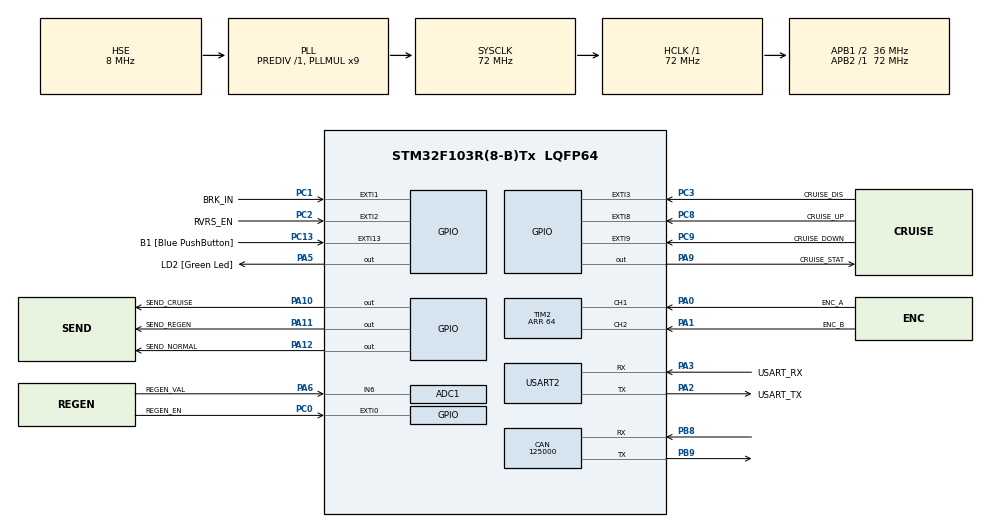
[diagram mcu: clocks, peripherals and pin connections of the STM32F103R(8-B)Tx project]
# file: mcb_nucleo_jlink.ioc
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ADC1.Channel-0\#ChannelRegularConversion=ADC_CHANNEL_6
ADC1.ContinuousConvMode=ENABLE
ADC1.NbrOfConversionFlag=1
ADC1.Rank-0\#ChannelRegularConversion=1
ADC1.SamplingTime-0\#ChannelRegularConversion=ADC_SAMPLETIME_239CYCLES_5
ADC1.master=1
CAN.BS1=CAN_BS1_13TQ
CAN.BS2=CAN_BS2_4TQ
CAN.CalculateBaudRate=125000
CAN.CalculateTimeBit=7999.99
CAN.CalculateTimeQuantum=444.44444444444446
FREERTOS.HEAP_NUMBER=4
FREERTOS.Tasks01=defaultTask,24,128,StartDefaultTask,Default,NULL,Dynamic,NULL,NULL
FREERTOS.configMAX_TASK_NAME_LEN=32
FREERTOS.configTOTAL_HEAP_SIZE=9216
FREERTOS.configUSE_IDLE_HOOK=0
FREERTOS.configUSE_NEWLIB_REENTRANT=1
FREERTOS.configUSE_TICK_HOOK=0
Mcu.Family=STM32F1
Mcu.Name=STM32F103R(8-B)Tx
Mcu.Package=LQFP64
NVIC.ADC1_2_IRQn=true\:5\:0\:false\:false\:true\:true\:true\:true
NVIC.EXTI0_IRQn=true\:5\:0\:false\:false\:true\:true\:true\:true
NVIC.EXTI15_10_IRQn=true\:5\:0\:false\:false\:true\:true\:true\:true
NVIC.EXTI1_IRQn=true\:5\:0\:false\:false\:true\:true\:true\:true
NVIC.EXTI2_IRQn=true\:5\:0\:false\:false\:true\:true\:true\:true
NVIC.EXTI3_IRQn=true\:5\:0\:false\:false\:true\:true\:true\:true
NVIC.EXTI9_5_IRQn=true\:5\:0\:false\:false\:true\:true\:true\:true
NVIC.PriorityGroup=NVIC_PRIORITYGROUP_4
NVIC.TIM1_UP_IRQn=true\:15\:0\:false\:false\:true\:false\:false\:true
NVIC.TimeBase=TIM1_UP_IRQn
NVIC.TimeBaseIP=TIM1
NVIC.USB_LP_CAN1_RX0_IRQn=true\:5\:0\:false\:false\:true\:true\:true\:true
PA0-WKUP.GPIO_Label=ENC_A
PA0-WKUP.Signal=S_TIM2_CH1_ETR
PA1.GPIO_Label=ENC_B
PA1.Signal=S_TIM2_CH2
PA10.GPIO_Label=SEND_CRUISE
PA10.Signal=GPIO_Output
PA11.GPIO_Label=SEND_REGEN
PA11.Signal=GPIO_Output
PA12.GPIO_Label=SEND_NORMAL
PA12.Signal=GPIO_Output
PA13.GPIO_Label=TMS
PA13.Mode=JTAG_5_pins
PA13.Signal=SYS_JTMS-SWDIO
PA14.GPIO_Label=TCK
PA14.Mode=JTAG_5_pins
PA14.Signal=SYS_JTCK-SWCLK
PA15.Mode=JTAG_5_pins
PA15.Signal=SYS_JTDI
PA2.GPIO_Label=USART_TX
PA2.GPIO_Mode=GPIO_MODE_AF_PP
PA2.GPIO_PuPd=GPIO_NOPULL
PA2.GPIO_Speed=GPIO_SPEED_FREQ_LOW
PA2.Mode=Asynchronous
PA2.Signal=USART2_TX
PA3.GPIO_Label=USART_RX
PA3.GPIO_Mode=GPIO_MODE_AF_PP
PA3.GPIO_PuPd=GPIO_NOPULL
PA3.GPIO_Speed=GPIO_SPEED_FREQ_LOW
PA3.Mode=Asynchronous
PA3.Signal=USART2_RX
PA5.GPIO_Label=LD2 [Green Led]
PA5.GPIO_ModeDefaultOutputPP=GPIO_MODE_OUTPUT_PP
PA5.GPIO_PuPd=GPIO_NOPULL
PA5.GPIO_Speed=GPIO_SPEED_FREQ_LOW
PA5.Signal=GPIO_Output
PA6.GPIO_Label=REGEN_VAL
PA6.Signal=ADCx_IN6
PA9.GPIO_Label=CRUISE_STAT
PA9.Signal=GPIO_Output
PB3.GPIO_Label=SWO
PB3.Mode=JTAG_5_pins
PB3.Signal=SYS_JTDO-TRACESWO
PB4.Mode=JTAG_5_pins
PB4.Signal=SYS_NJTRST
PB8.Mode=CAN_Activate
PB8.Signal=CAN_RX
PB9.Mode=CAN_Activate
PB9.Signal=CAN_TX
PC0.GPIO_Label=REGEN_EN
PC0.GPIO_ModeDefaultEXTI=GPIO_MODE_IT_RISING_FALLING
PC0.GPIO_PuPd=GPIO_PULLDOWN
PC0.Signal=GPXTI0
PC1.GPIO_Label=BRK_IN
PC1.GPIO_PuPd=GPIO_PULLDOWN
PC1.Signal=GPXTI1
PC13-TAMPER-RTC.GPIO_Label=B1 [Blue PushButton]
PC13-TAMPER-RTC.GPIO_PuPd=GPIO_NOPULL
PC13-TAMPER-RTC.Signal=GPXTI13
PC14-OSC32_IN.Mode=LSE-External-Oscillator
PC14-OSC32_IN.Signal=RCC_OSC32_IN
PC15-OSC32_OUT.Mode=LSE-External-Oscillator
PC15-OSC32_OUT.Signal=RCC_OSC32_OUT
PC2.GPIO_Label=RVRS_EN
PC2.GPIO_ModeDefaultEXTI=GPIO_MODE_IT_RISING_FALLING
PC2.GPIO_PuPd=GPIO_PULLDOWN
PC2.Signal=GPXTI2
PC3.GPIO_Label=CRUISE_DIS
PC3.GPIO_PuPd=GPIO_PULLDOWN
PC3.Signal=GPXTI3
PC8.GPIO_Label=CRUISE_UP
PC8.GPIO_PuPd=GPIO_PULLDOWN
PC8.Signal=GPXTI8
PC9.GPIO_Label=CRUISE_DOWN
PC9.GPIO_PuPd=GPIO_PULLDOWN
PC9.Signal=GPXTI9
PD0-OSC_IN.Mode=HSE-External-Clock-Source
PD0-OSC_IN.Signal=RCC_OSC_IN
PD1-OSC_OUT.Mode=HSE-External-Clock-Source
PD1-OSC_OUT.Signal=RCC_OSC_OUT
ProjectManager.HeapSize=0x200
ProjectManager.StackSize=0x400
ProjectManager.TargetToolchain=STM32CubeIDE
RCC.ADCPresc=RCC_ADCPCLK2_DIV6
RCC.AHBFreq_Value=72000000
RCC.APB1CLKDivider=RCC_HCLK_DIV2
RCC.APB1Freq_Value=36000000
RCC.APB1TimFreq_Value=72000000
RCC.APB2Freq_Value=72000000
RCC.APB2TimFreq_Value=72000000
RCC.HCLKFreq_Value=72000000
RCC.PLLMUL=RCC_PLL_MUL9
RCC.PLLSourceVirtual=RCC_PLLSOURCE_HSE
RCC.RTCClockSelection=RCC_RTCCLKSOURCE_LSE
RCC.SYSCLKFreq_VALUE=72000000
RCC.SYSCLKSource=RCC_SYSCLKSOURCE_PLLCLK
RCC.USBFreq_Value=72000000
SH.ADCx_IN6.0=ADC1_IN6,IN6
SH.S_TIM2_CH1_ETR.0=TIM2_CH1,Encoder_Interface
SH.S_TIM2_CH2.0=TIM2_CH2,Encoder_Interface
TIM2.EncoderMode=TIM_ENCODERMODE_TI12
TIM2.Period=64
USART2.VirtualMode=VM_ASYNC
VP_FREERTOS_VS_CMSIS_V2.Mode=CMSIS_V2
VP_SYS_VS_tim1.Mode=TIM1
board=NUCLEO-F103RB

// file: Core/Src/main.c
/* USER CODE BEGIN Header */
/**
 ******************************************************************************
 * @file           : main.c
 * @brief          : Main program body
 ******************************************************************************
 * @attention
 *
 * <h2><center>&copy; Copyright (c) 2021 STMicroelectronics.
 * All rights reserved.</center></h2>
 *
 * This software component is licensed by ST under Ultimate Liberty license
 * SLA0044, the "License"; You may not use this file except in compliance with
 * the License. You may obtain a copy of the License at:
 *                             www.st.com/SLA0044
 *
 ******************************************************************************
 */
/* USER CODE END Header */
#include "main.h"
#include "cmsis_os.h"
#include "adc.h"
#include "can.h"
#include "tim.h"
#include "usart.h"
#include "gpio.h"

/* USER CODE BEGIN Includes */

#include <SEGGER/SEGGER_SYSVIEW.h>
#include <SEGGER/SEGGER_RTT.h>

/* USER CODE END Includes */

/* USER CODE BEGIN PD */

union FloatBytes current, velocity, motor_temperature;
struct input_flags event_flags;

uint32_t regen_value;
int8_t cruise_value;

uint8_t battery_soc;

uint32_t buffer;

/* USER CODE END PD */

void SystemClock_Config(void);
void MX_FREERTOS_Init(void);

int main(void)
{
  /* USER CODE BEGIN 1 */
    HAL_NVIC_SetPriorityGrouping(NVIC_PRIORITYGROUP_4);

  /* USER CODE END 1 */

  /* MCU Configuration--------------------------------------------------------*/

  /* Reset of all peripherals, Initializes the Flash interface and the Systick. */
  HAL_Init();

  /* Configure the system clock */
  SystemClock_Config();

  /* Initialize all configured peripherals */
  MX_GPIO_Init();
  MX_USART2_UART_Init();
  MX_ADC1_Init();
  MX_CAN_Init();
  MX_TIM2_Init();
  /* USER CODE BEGIN 2 */

    HAL_TIM_Encoder_Start(&htim2, TIM_CHANNEL_ALL);

    // <----- CAN setup ----->

    CAN_Filter_Init();
    HAL_CAN_ConfigFilter(&hcan, &mcb_filter);
    HAL_CAN_Start(&hcan);

    HAL_StatusTypeDef can_notification_status = HAL_CAN_ActivateNotification(&hcan, CAN_IT_RX_FIFO0_MSG_PENDING);
    assert_param(can_notification_status == HAL_OK);

    // <----- ADC setup ----->

    // ISR is the HAL_ADC_ConvCpltCallback function
    // HAL_ADC_Start_DMA(&hadc1, &buffer, sizeof(buffer));
    HAL_ADC_Start_IT(&hadc1);

    // TODO: comment out after debugging
    SEGGER_SYSVIEW_Conf();

  /* USER CODE END 2 */

  /* Init scheduler */
  osKernelInitialize();  /* Call init function for freertos objects (in freertos.c) */
  MX_FREERTOS_Init();
  /* Start scheduler */
  osKernelStart();

  /* We should never get here as control is now taken by the scheduler */
  /* Infinite loop */
    while (1) {

    }
}

void SystemClock_Config(void)
{
  RCC_OscInitTypeDef RCC_OscInitStruct = {0};
  RCC_ClkInitTypeDef RCC_ClkInitStruct = {0};
  RCC_PeriphCLKInitTypeDef PeriphClkInit = {0};

  /** Initializes the RCC Oscillators according to the specified parameters
  * in the RCC_OscInitTypeDef structure.
  */
  RCC_OscInitStruct.OscillatorType = RCC_OSCILLATORTYPE_HSE;
  RCC_OscInitStruct.HSEState = RCC_HSE_BYPASS;
  RCC_OscInitStruct.HSEPredivValue = RCC_HSE_PREDIV_DIV1;
  RCC_OscInitStruct.HSIState = RCC_HSI_ON;
  RCC_OscInitStruct.PLL.PLLState = RCC_PLL_ON;
  RCC_OscInitStruct.PLL.PLLSource = RCC_PLLSOURCE_HSE;
  RCC_OscInitStruct.PLL.PLLMUL = RCC_PLL_MUL9;
  if (HAL_RCC_OscConfig(&RCC_OscInitStruct) != HAL_OK)
  {
    Error_Handler();
  }
  /** Initializes the CPU, AHB and APB buses clocks
  */
  RCC_ClkInitStruct.ClockType = RCC_CLOCKTYPE_HCLK|RCC_CLOCKTYPE_SYSCLK
                              |RCC_CLOCKTYPE_PCLK1|RCC_CLOCKTYPE_PCLK2;
  RCC_ClkInitStruct.SYSCLKSource = RCC_SYSCLKSOURCE_PLLCLK;
  RCC_ClkInitStruct.AHBCLKDivider = RCC_SYSCLK_DIV1;
  RCC_ClkInitStruct.APB1CLKDivider = RCC_HCLK_DIV2;
  RCC_ClkInitStruct.APB2CLKDivider = RCC_HCLK_DIV1;

  if (HAL_RCC_ClockConfig(&RCC_ClkInitStruct, FLASH_LATENCY_2) != HAL_OK)
  {
    Error_Handler();
  }
  PeriphClkInit.PeriphClockSelection = RCC_PERIPHCLK_ADC;
  PeriphClkInit.AdcClockSelection = RCC_ADCPCLK2_DIV6;
  if (HAL_RCCEx_PeriphCLKConfig(&PeriphClkInit) != HAL_OK)
  {
    Error_Handler();
  }
}

void HAL_TIM_PeriodElapsedCallback(TIM_HandleTypeDef *htim)
{
  if (htim->Instance == TIM1) {
    HAL_IncTick();
  }
}

void Error_Handler(void)
{
    __disable_irq();
    while (1) {
    }
}

#ifdef  USE_FULL_ASSERT
/**
  * @brief  Reports the name of the source file and the source line number
  *         where the assert_param error has occurred.
  * @param  file: pointer to the source file name
  * @param  line: assert_param error line source number
  * @retval None
  */
void assert_failed(uint8_t *file, uint32_t line)
{
  /* USER CODE BEGIN 6 */
    /* User can add his own implementation to report the file name and line number,
     ex: printf("Wrong parameters value: file %s on line %d\r\n", file, line) */
    HAL_GPIO_WritePin(LD2_GPIO_Port, LD2_Pin, GPIO_PIN_SET);
  /* USER CODE END 6 */
}
#endif /* USE_FULL_ASSERT */

/************************ (C) COPYRIGHT STMicroelectronics *****END OF FILE****/

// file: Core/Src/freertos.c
/* USER CODE BEGIN Header */
/**
 ******************************************************************************
 * File Name          : freertos.c
 * Description        : Code for freertos applications
 ******************************************************************************
 * @attention
 *
 * <h2><center>&copy; Copyright (c) 2021 STMicroelectronics.
 * All rights reserved.</center></h2>
 *
 * This software component is licensed by ST under Ultimate Liberty license
 * SLA0044, the "License"; You may not use this file except in compliance with
 * the License. You may obtain a copy of the License at:
 *                             www.st.com/SLA0044
 *
 ******************************************************************************
 */
/* USER CODE END Header */

#include "FreeRTOS.h"
#include "task.h"
#include "main.h"
#include "cmsis_os.h"

/* USER CODE BEGIN Includes */

#include "attributes.h"
#include "can.h"
#include "tim.h"

#include "SEGGER_RTT.h"

/* USER CODE END Includes */

/* USER CODE BEGIN PD */

#define ENCODER_QUEUE_MSG_CNT               5   /* maximum number of messages allowed in encoder queue */
#define ENCODER_QUEUE_MSG_SIZE              2   /* size of each message in encoder queue 2 bytes (uint16_t) */

#define DEFAULT_CRUISE_SPEED                10  /* TODO: calibrate this */

#define BATTERY_REGEN_THRESHOLD             90  /* battery percentage beyond which regen is disabled */

#define CAN_FIFO0                           0
#define CAN_FIFO1                           1

#define TRUE                                1
#define FALSE                               0

#define INIT_EVENT_FLAGS_SEMAPHORE_VAL      0
#define MAX_EVENT_FLAGS_SEMAPHORE_VAL       1

#define PEDAL_MAX                           0x64 /* TODO: calibrate this */
#define PEDAL_MIN                           0x00 /* TODO: calibrate this */

#define MOTOR_OVERTEMP_THRESHOLD            150				/**< Maximum allowed motor temperature in celsius. */
#define MOTOR_OVERTEMP_CLEAR_THRESHOLD      100				/**< Temperature at which MCB will leave the MOTOR_OVERHEAT state */

#define STATE_LED_DELAY                     200
#define KERNEL_LED_DELAY                    150
#define MOTOR_OVERHEAT_DELAY                1000			/**< Delay between each time the motor temperature is read fro CAN (in ms).*/
#define EVENT_FLAG_UPDATE_DELAY             25
#define ENCODER_READ_DELAY                  50
#define READ_BATTERY_SOC_DELAY              5000
#define CAN_READ_MESSAGE_DELAY              1000

#define DEBUG 								1

/* USER CODE END PD */

/* USER CODE BEGIN Variables */

osThreadId_t kernelLEDTaskHandle;

osThreadId_t readEncoderTaskHandle;
osThreadId_t computeNextStateTaskHandle;

osThreadId_t canReadMessagesTaskHandle;

osThreadId_t sendMotorCommandTaskHandle;
osThreadId_t sendRegenCommandTaskHandle;
osThreadId_t sendCruiseCommandTaskHandle;
osThreadId_t sendNextScreenMessageTaskHandle;
osThreadId_t sendIdleCommandTaskHandle;

osThreadId_t sendMotorOverheatTaskHandle;

osThreadId_t receiveBatteryMessageTaskHandle;

osThreadId_t initialSetupTaskHandle;

osThreadId_t monitorStateTaskHandle;

osMessageQueueId_t encoderQueueHandle;

osEventFlagsId_t commandEventFlagsHandle;
osEventFlagsId_t canIdEventFlagsHandle;

osSemaphoreId_t eventFlagsSemaphoreHandle;
osSemaphoreId_t nextScreenSemaphoreHandle;

//struct CAN_Tx_Message {
//	CAN_TxHeaderTypeDef header;
//	uint8_t data[8];
//};

// indicates the current state of the main control node
enum states {
    STATE_ERROR = (uint32_t) 0x0001,
    IDLE = (uint32_t) 0x0002,
    NORMAL_READY = (uint32_t) 0x0004,
    REGEN_READY = (uint32_t) 0x0008,
    CRUISE_READY = (uint32_t) 0x0010,
    MOTOR_OVERHEAT = (uint32_t) 0x0020
} mcb_state;

// indicates the CAN ID that is in the mailbox and ready to be used by a thread
enum can_ids {
    INVALID = (uint32_t) 0x0001,
    MOTOR_ID = (uint32_t) 0x0002,
    BATTERY_ID = (uint32_t) 0x0004
} can_id;

// store the CAN message data that is read in the canReadMessages task as a global variable
uint8_t current_can_data[8];

volatile uint16_t encoder_reading = 0x0000;

/* USER CODE END Variables */
/* Definitions for defaultTask */
osThreadId_t defaultTaskHandle;
const osThreadAttr_t defaultTask_attributes = {
  .name = "defaultTask",
  .stack_size = 128 * 4,
  .priority = (osPriority_t) osPriorityNormal,
};

/* USER CODE BEGIN FunctionPrototypes */

void kernelLEDTask(void *argument);

void readEncoderTask(void *argument);

void computeNextStateTask(void *argument);

void canReadMessagesTask(void *argument);

void sendMotorCommandTask(void *argument);
void sendRegenCommandTask(void *argument);
void sendCruiseCommandTask(void *argument);
void sendIdleCommandTask(void *argument);
void sendNextScreenMessageTask(void *argument);

void sendMotorOverheatTask(void *argument);

void initialSetupTask(void *argument);

void monitorStateTask(void *argument);

void receiveBatteryMessageTask(void *argument);

/* USER CODE END FunctionPrototypes */

void StartDefaultTask(void *argument);

void MX_FREERTOS_Init(void); /* (MISRA C 2004 rule 8.1) */

void MX_FREERTOS_Init(void) {
  /* USER CODE BEGIN Init */

    encoderQueueHandle = osMessageQueueNew(ENCODER_QUEUE_MSG_CNT,
    ENCODER_QUEUE_MSG_SIZE, &encoderQueue_attributes);

    // <----- Thread object handles ----->

    kernelLEDTaskHandle = osThreadNew(kernelLEDTask, NULL, &kernelLEDTask_attributes);

    readEncoderTaskHandle = osThreadNew(readEncoderTask, NULL, &readEncoderTask_attributes);
    computeNextStateTaskHandle = osThreadNew(computeNextStateTask, NULL, &computeNextStateTask_attributes);

    canReadMessagesTaskHandle = osThreadNew(canReadMessagesTask, NULL, &canReadMessagesTask_attributes);

    sendMotorCommandTaskHandle = osThreadNew(sendMotorCommandTask, NULL, &sendMotorCommandTask_attributes);
    sendRegenCommandTaskHandle = osThreadNew(sendRegenCommandTask, NULL, &sendRegenCommandTask_attributes);
    sendCruiseCommandTaskHandle = osThreadNew(sendCruiseCommandTask, NULL, &sendCruiseCommandTask_attributes);
    sendIdleCommandTaskHandle = osThreadNew(sendIdleCommandTask, NULL, &sendIdleCommandTask_attributes);

    sendMotorOverheatTaskHandle = osThreadNew(sendMotorOverheatTask, NULL, &sendMotorOverheatTask_attributes);

    initialSetupTaskHandle = osThreadNew(initialSetupTask, NULL, &initialSetupTask_attributes);

    // sendNextScreenMessageTaskHandle = osThreadNew(sendNextScreenMessageTask, NULL, &sendNextScreenTask_attributes);

    receiveBatteryMessageTaskHandle = osThreadNew(receiveBatteryMessageTask,
    NULL, &receiveBatteryMessageTask_attributes);

    monitorStateTaskHandle = osThreadNew(monitorStateTask, NULL, &monitorStateTask_attributes);

    // <----- Event flag object handles ----->

    commandEventFlagsHandle = osEventFlagsNew(NULL);
    canIdEventFlagsHandle = osEventFlagsNew(NULL);

    // <----- Semaphore object handles ----->

    eventFlagsSemaphoreHandle = osSemaphoreNew(MAX_EVENT_FLAGS_SEMAPHORE_VAL,
    INIT_EVENT_FLAGS_SEMAPHORE_VAL, NULL);
    // nextScreenSemaphoreHandle = osSemaphoreNew(1, 0, NULL);

    assert_param(eventFlagsSemaphoreHandle != NULL);

    // set initial MCB state
    mcb_state = IDLE;

  /* USER CODE END Init */

  /* Create the thread(s) */
  /* creation of defaultTask */
  defaultTaskHandle = osThreadNew(StartDefaultTask, NULL, &defaultTask_attributes);

}

void StartDefaultTask(void *argument)
{
  for(;;)
  {
    osDelay(1);
  }
}

/* USER CODE BEGIN Application */

__NO_RETURN void kernelLEDTask(void *argument) {
    osKernelState_t kernel_state;

    while (1) {
        kernel_state = osKernelGetState();

        if (kernel_state == osKernelRunning) {
            HAL_GPIO_TogglePin(LD2_GPIO_Port, LD2_Pin);
        }

        osDelay(KERNEL_LED_DELAY);
    }
}

void initialSetupTask(void *argument) {
    uint8_t data_send[CAN_DATA_LENGTH];

    osKernelState_t kernel_state = osKernelGetState();

    if (kernel_state == osKernelRunning) {
        for (uint8_t i = 0; i < CAN_DATA_LENGTH; i++) {
            data_send[i] = 0xff;
        }
        HAL_CAN_AddTxMessage(&hcan, &kernel_state_header, data_send, &can_mailbox);
    } else {
        for (uint8_t i = 0; i < CAN_DATA_LENGTH; i++) {
            data_send[i] = 0x00;
        }

        HAL_CAN_AddTxMessage(&hcan, &kernel_state_header, data_send, &can_mailbox);
    }
    osThreadExit();
}

/**
 * @brief  reads the encoder and places the value in the encoder queue
 * @retval None
 */
__NO_RETURN void readEncoderTask(void *argument) {
    static uint16_t old_encoder_reading = 0x0000;

    while (1) {
        encoder_reading = __HAL_TIM_GET_COUNTER(&htim2);

        // update the event flags struct
        event_flags.encoder_value_is_zero = (encoder_reading == 0);

        osMessageQueuePut(encoderQueueHandle, &encoder_reading, 0U, 0U);

        if (encoder_reading > old_encoder_reading) {
            event_flags.encoder_value_increasing = TRUE;
            event_flags.cruise_status = DISABLE;
        } else {
            event_flags.encoder_value_increasing = FALSE;
        }

        old_encoder_reading = encoder_reading;

        osDelay(ENCODER_READ_DELAY);
    }
}

/**
 * @brief  sends motor command (torque-control) CAN message once encoder value is read and a NORMAL_STATE flag is signalled
 * @retval None
 */
__NO_RETURN void sendMotorCommandTask(void *argument) {
    uint8_t data_send[CAN_DATA_LENGTH];
    uint16_t encoder_value;

    osStatus_t queue_status;

    while (1) {
        // blocks thread waiting for encoder value to be added to queue
        queue_status = osMessageQueueGet(encoderQueueHandle, &encoder_value,
        NULL, 0U);

        if (queue_status == osOK) {
            // current is linearly scaled to pedal position
            current.float_value = (float) encoder_value / (PEDAL_MAX - PEDAL_MIN);
        } else {
            // TODO: could maybe output to UART for debugging or even send a CAN message
            osThreadYield();
        }

        osEventFlagsWait(commandEventFlagsHandle, NORMAL_READY, osFlagsWaitAll,
        osWaitForever);

        // velocity is set to unattainable value for motor torque-control mode
        if (event_flags.reverse_enable) {
            velocity.float_value = -100.0;
        } else {
            velocity.float_value = 100.0;
        }

        // writing data into data_send array which will be sent as a CAN message
        for (int i = 0; i < (uint8_t) CAN_DATA_LENGTH / 2; i++) {
            data_send[i] = velocity.bytes[i];
            data_send[4 + i] = current.bytes[i];
        }

        HAL_CAN_AddTxMessage(&hcan, &drive_command_header, data_send, &can_mailbox);
    }
}

/**
 * @brief  sends regen command (velocity control) CAN message
 * @retval None
 */
__NO_RETURN void sendRegenCommandTask(void *argument) {
    uint8_t data_send[CAN_DATA_LENGTH];

    while (1) {
        // waits for event flag that signals the decision to send a regen command
        osEventFlagsWait(commandEventFlagsHandle, REGEN_READY, osFlagsWaitAll, osWaitForever);

        // velocity is set to zero for regen CAN command
        velocity.float_value = 0.0;

        // current is linearly scaled with the read regen value
        current.float_value = (float) regen_value / (ADC_MAX - ADC_MIN);

        // writing data into data_send array which will be sent as a CAN message
        for (int i = 0; i < (uint8_t) CAN_DATA_LENGTH / 2; i++) {
            data_send[i] = velocity.bytes[i];
            data_send[4 + i] = current.bytes[i];
        }

        HAL_CAN_AddTxMessage(&hcan, &drive_command_header, data_send, &can_mailbox);
    }
}

/**
 * @brief  sends cruise-control command (velocity control) CAN message
 * @retval None
 */
__NO_RETURN void sendCruiseCommandTask(void *argument) {
    uint8_t data_send[CAN_DATA_LENGTH];

    while (1) {
        // waits for event flag that signals the decision to send a cruise control command
        osEventFlagsWait(commandEventFlagsHandle, CRUISE_READY, osFlagsWaitAll,
        osWaitForever);

        // current set to maximum for a cruise control message
        current.float_value = (float) 1.0;

        // set velocity to cruise value
        velocity.float_value = (float) cruise_value;

        // writing data into data_send array which will be sent as a CAN message
        for (int i = 0; i < (uint8_t) CAN_DATA_LENGTH / 2; i++) {
            data_send[i] = velocity.bytes[i];
            data_send[4 + i] = current.bytes[i];
        }

        HAL_CAN_AddTxMessage(&hcan, &drive_command_header, data_send, &can_mailbox);
    }
}

/**
 * @brief  sends an "idle" CAN message when the car is not moving
 * @retval None
 */
__NO_RETURN void sendIdleCommandTask(void *argument) {
    uint8_t data_send[CAN_DATA_LENGTH];

    while (1) {
        // waits for event flag that signals the decision to send an idle command
        osEventFlagsWait(commandEventFlagsHandle, IDLE, osFlagsWaitAll, osWaitForever);

        // zeroed since car would not be moving in idle state
        current.float_value = (float) 0.0;
        velocity.float_value = (float) 0.0;

        // writing data into data_send array which will be sent as a CAN message
        for (int i = 0; i < (uint8_t) CAN_DATA_LENGTH / 2; i++) {
            data_send[i] = velocity.bytes[i];
            data_send[4 + i] = current.bytes[i];
        }

        HAL_CAN_AddTxMessage(&hcan, &drive_command_header, data_send, &can_mailbox);
    }
}

/**
 * @brief  sends next_screen command (to switch telemetry output) CAN message
 * @param  argument: Not used
 * @retval None
 */
__NO_RETURN void sendNextScreenMessageTask(void *argument) {
    // maybe make this a global variable
    uint8_t data_send[CAN_CONTROL_DATA_LENGTH];

    while (1) {
        // wait for next-screen semaphore
        osSemaphoreAcquire(nextScreenSemaphoreHandle, osWaitForever);

        data_send[1] = 0x01;
        HAL_CAN_AddTxMessage(&hcan, &screen_cruise_control_header, data_send, &can_mailbox);
    }
}

/**
 * @brief  Decides what the next thread will be given certain event flags
 * @retval An enum of type `states` describing the next state for the MCB
 */
enum states calculateNextState() {
    if (event_flags.motor_overheat) {
        return MOTOR_OVERHEAT;
    } else if (event_flags.regen_enable && regen_value > 0 && battery_soc < BATTERY_REGEN_THRESHOLD) {
        return REGEN_READY;
    } else if (!event_flags.encoder_value_is_zero && !event_flags.cruise_status) {
        return NORMAL_READY;
    } else if (event_flags.cruise_status && !event_flags.brake_in && !event_flags.encoder_value_increasing
            && (cruise_value > 0 || encoder_reading > 0)) {
        return CRUISE_READY;
    } else {
        return IDLE;
    }

    return STATE_ERROR;
}

/**
 * @brief  Decides which thread will send a CAN message
 * @param  argument: Not used
 * @retval None
 */
__NO_RETURN void computeNextStateTask(void *argument) {
    char *state_string = "NULL";
    enum states current_mcb_state = IDLE;

    while (1) {
        current_mcb_state = mcb_state;

        // order of priorities beginning with most important: regen braking, encoder motor command, cruise control

        // next state depends on previous state and other flag inputs (Mealy machine)
        switch (current_mcb_state) {

        case STATE_ERROR:
            mcb_state = calculateNextState();
            break;

        case IDLE:
            mcb_state = calculateNextState();
            break;

        case NORMAL_READY:
            mcb_state = calculateNextState();
            if (mcb_state == CRUISE_READY) {
                cruise_value = encoder_reading;
            }
            break;

        case REGEN_READY:
            mcb_state = calculateNextState();
            break;

        case CRUISE_READY:
            mcb_state = calculateNextState();
            break;

        case MOTOR_OVERHEAT:
            mcb_state = calculateNextState();
            break;

        default:
            mcb_state = calculateNextState();
        }

        SEGGER_RTT_SetTerminal(0);

        switch (mcb_state) {
        case IDLE:
            state_string = "IDLE";
            break;
        case NORMAL_READY:
            state_string = "NORMAL_READY";
            break;
        case REGEN_READY:
            state_string = "REGEN_READY";
            break;
        case CRUISE_READY:
            state_string = "CRUISE_READY";
            break;
        case MOTOR_OVERHEAT:
            state_string = "MOTOR_OVERHEAT";
            break;
        case STATE_ERROR:
            state_string = "STATE_ERROR";
            break;

        default:
            state_string = "MAJOR_ERROR";
        }

        // writes the current state of the MCB to the SEGGER JLINK terminal (can use J-Link RTT Viewer to see output)
        SEGGER_RTT_printf(0, "MCB state: 0x%x (%s)\n", mcb_state, state_string);

        SEGGER_RTT_SetTerminal(2);
        SEGGER_RTT_printf(0, "Current: %d | Velocity: %d\n", current.float_value, velocity.float_value);

        osEventFlagsSet(commandEventFlagsHandle, mcb_state);
        osDelay(EVENT_FLAG_UPDATE_DELAY);
    }
}

/**
 * @brief  Decides which thread will receive a CAN message
 * @param  argument: Not used
 * @retval None
 */
__NO_RETURN void canReadMessagesTask(void *argument) {
    HAL_StatusTypeDef status;

    while (1) {
        // wait for CAN RX ISR to set thread flags
        osThreadFlagsWait(CAN_READY, osFlagsWaitAll, osWaitForever);

        // there are multiple CAN IDs being passed through the filter, pull out the current message
        HAL_CAN_GetRxMessage(&hcan, CAN_RX_FIFO0, &can_rx_header, current_can_data);

        // motor ID
        if (can_rx_header.StdId == 0x50B) {
            can_id = MOTOR_ID;
        }
        // battery SOC ID
        else if (can_rx_header.StdId == 0x626) {
            can_id = BATTERY_ID;
        } else {
            // Major error. A CAN ID was received even though the filter only accepts 0x50B and 0x626
            can_id = INVALID;
        }

        osEventFlagsSet(canIdEventFlagsHandle, can_id);

        status = HAL_CAN_ActivateNotification(&hcan, CAN_IT_RX_FIFO0_MSG_PENDING);

        assert_param(status == HAL_OK);
    }
}

/**
 * @brief  Reads battery SOC from CAN bus (message ID 0x626, data byte 0)
 * @param  argument: Not used
 * @retval None
 */
__NO_RETURN void receiveBatteryMessageTask(void *argument) {

    while (1) {

        // waits for event flag that signals the Battery SOC ID has been received
        osEventFlagsWait(canIdEventFlagsHandle, BATTERY_ID, osFlagsWaitAll,
        osWaitForever);

        // if the battery SOC is out of range, assume it is at 100% as a safety measure
        if (current_can_data[0] < 0 || current_can_data[0] > 100) {
            // TODO: should send out a CAN message here
            battery_soc = 100;
        } else {
            battery_soc = current_can_data[0];
        }
    }
}

/**
 * @brief  	Reads motor temperature from CAN bus (message ID 0x50B). Since the the Tritium BMS does not have over-temperature
 * 			shutdown, the motor will need to stop sending commands when it reaches a temperature of MAX_MOTOR_TEMPERATURE.
 *
 * @param  	argument: Not used
 * @retval 	None
 */
__NO_RETURN void sendMotorOverheatTask(void *argument) {
    while (1) {

        // waits for event flag that signals the Motor ID has been received
        osEventFlagsWait(canIdEventFlagsHandle, MOTOR_ID, osFlagsWaitAll,
        osWaitForever);

        // assign the values from the CAN message into the
        // use the union to convert the 4 bytes to a 32-bit float
        for (int i = 0; i < (uint8_t) CAN_DATA_LENGTH / 2; i++) {
            /*
             * transfer the incoming bytes LIFO 	TODO: test IEEE 754 conversion on hardware
             * for example, 0xAABBCCDD
             * 		received[0] = 0xDD -> copied[3] = 0xDD
             * 		received[1] = 0xCC -> copied[2] - 0xCC
             * 		received[2] = 0xBB -> copied[1] = 0xBB
             * 		received[3] = 0xAA -> copied[0] - 0xAA
             */
            motor_temperature.bytes[i] = current_can_data[i];
        }

        // if the motor temperature is over heating, stop sending commands
        if (motor_temperature.float_value >= MOTOR_OVERTEMP_THRESHOLD) {
            // change the state so that sendMotorCommandTask will not run
            event_flags.motor_overheat = TRUE;
        } else {
            // change the state so that sendMotorCommandTask will not run
            event_flags.motor_overheat = FALSE;
        }
    }
}

void monitorStateTask(void *argument) {
    while (1) {
        switch (mcb_state) {
        case NORMAL_READY:
            HAL_GPIO_TogglePin(SEND_NORMAL_GPIO_Port, SEND_NORMAL_Pin);
            HAL_GPIO_WritePin(SEND_REGEN_GPIO_Port, SEND_REGEN_Pin, GPIO_PIN_RESET);
            HAL_GPIO_WritePin(SEND_CRUISE_GPIO_Port, SEND_CRUISE_Pin, GPIO_PIN_RESET);
            break;
        case REGEN_READY:
            HAL_GPIO_WritePin(SEND_NORMAL_GPIO_Port, SEND_NORMAL_Pin, GPIO_PIN_RESET);
            HAL_GPIO_TogglePin(SEND_REGEN_GPIO_Port, SEND_REGEN_Pin);
            HAL_GPIO_WritePin(SEND_CRUISE_GPIO_Port, SEND_CRUISE_Pin, GPIO_PIN_RESET);
            break;
        case CRUISE_READY:
            HAL_GPIO_WritePin(SEND_NORMAL_GPIO_Port, SEND_NORMAL_Pin, GPIO_PIN_RESET);
            HAL_GPIO_WritePin(SEND_REGEN_GPIO_Port, SEND_REGEN_Pin, GPIO_PIN_RESET);
            HAL_GPIO_TogglePin(SEND_CRUISE_GPIO_Port, SEND_CRUISE_Pin);
            break;
        default:
            HAL_GPIO_WritePin(GPIOA, SEND_NORMAL_Pin | SEND_CRUISE_Pin | SEND_REGEN_Pin, GPIO_PIN_RESET);
            break;
        }

        if (mcb_state == CRUISE_READY) {
            HAL_GPIO_WritePin(CRUISE_STAT_GPIO_Port, CRUISE_STAT_Pin, GPIO_PIN_SET);
        } else {
            HAL_GPIO_WritePin(CRUISE_STAT_GPIO_Port, CRUISE_STAT_Pin, GPIO_PIN_RESET);
        }

        SEGGER_RTT_SetTerminal(1);
        SEGGER_RTT_printf(0, "Motor temperature (degC): %d.0 | Battery SOC: %d%% \n",
                (uint32_t) motor_temperature.float_value, battery_soc);

        osDelay(STATE_LED_DELAY);
    }
}

/* USER CODE END Application */

/************************ (C) COPYRIGHT STMicroelectronics *****END OF FILE****/
